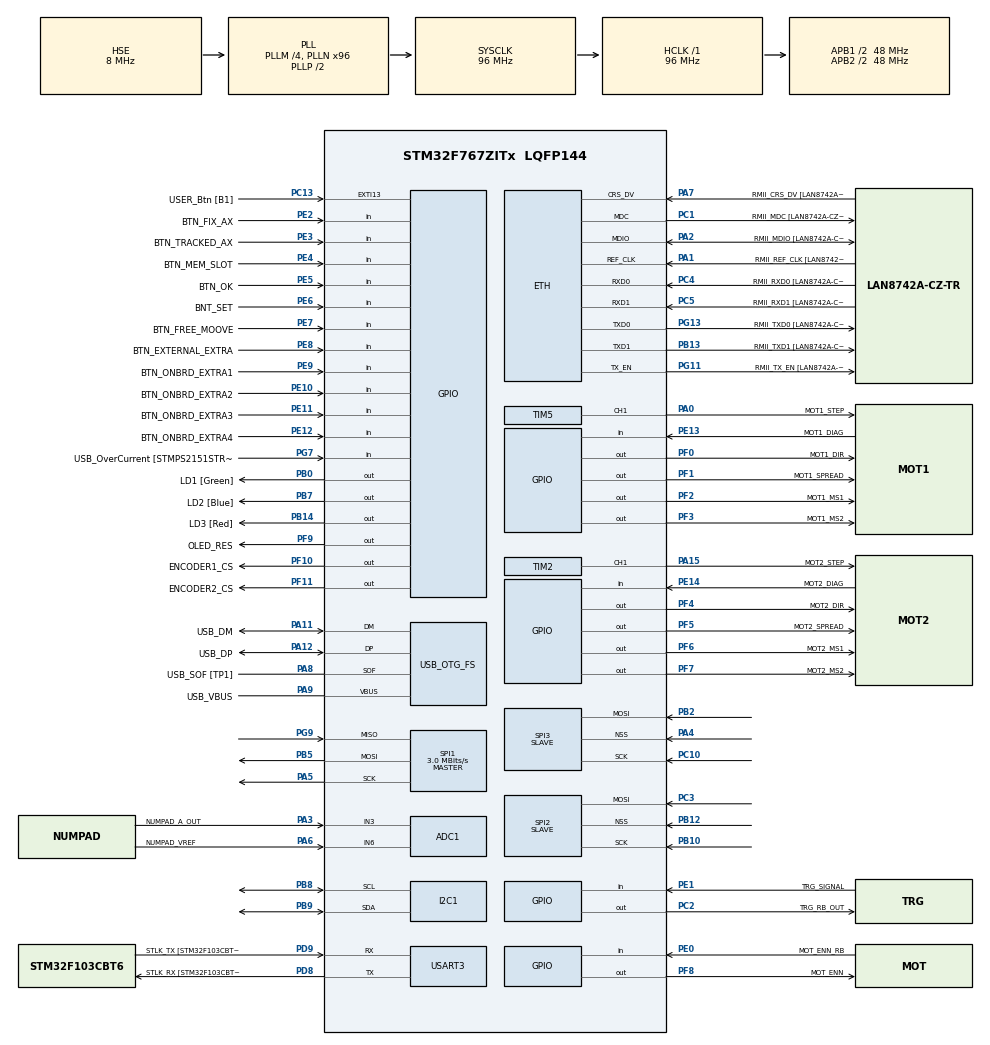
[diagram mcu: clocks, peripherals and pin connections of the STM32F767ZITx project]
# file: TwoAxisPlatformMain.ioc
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ADC1.Channel-1\#ChannelRegularConversion=ADC_CHANNEL_3
ADC1.ContinuousConvMode=ENABLE
ADC1.NbrOfConversionFlag=1
ADC1.Rank-1\#ChannelRegularConversion=1
ADC1.SamplingTime-1\#ChannelRegularConversion=ADC_SAMPLETIME_3CYCLES
ADC1.master=1
Dma.Request0=TIM2_UP/CH3
Dma.Request1=SPI2_RX
Dma.Request2=SPI3_RX
Dma.Request3=TIM5_UP
Dma.SPI2_RX.1.Direction=DMA_PERIPH_TO_MEMORY
Dma.SPI2_RX.1.FIFOMode=DMA_FIFOMODE_DISABLE
Dma.SPI2_RX.1.Instance=DMA1_Stream3
Dma.SPI2_RX.1.MemDataAlignment=DMA_MDATAALIGN_BYTE
Dma.SPI2_RX.1.MemInc=DMA_MINC_ENABLE
Dma.SPI2_RX.1.Mode=DMA_NORMAL
Dma.SPI2_RX.1.PeriphDataAlignment=DMA_PDATAALIGN_BYTE
Dma.SPI2_RX.1.PeriphInc=DMA_PINC_DISABLE
Dma.SPI2_RX.1.Priority=DMA_PRIORITY_MEDIUM
Dma.SPI3_RX.2.Direction=DMA_PERIPH_TO_MEMORY
Dma.SPI3_RX.2.FIFOMode=DMA_FIFOMODE_DISABLE
Dma.SPI3_RX.2.Instance=DMA1_Stream0
Dma.SPI3_RX.2.MemDataAlignment=DMA_MDATAALIGN_BYTE
Dma.SPI3_RX.2.MemInc=DMA_MINC_ENABLE
Dma.SPI3_RX.2.Mode=DMA_NORMAL
Dma.SPI3_RX.2.PeriphDataAlignment=DMA_PDATAALIGN_BYTE
Dma.SPI3_RX.2.PeriphInc=DMA_PINC_DISABLE
Dma.SPI3_RX.2.Priority=DMA_PRIORITY_MEDIUM
Dma.TIM2_UP/CH3.0.Direction=DMA_MEMORY_TO_PERIPH
Dma.TIM2_UP/CH3.0.FIFOMode=DMA_FIFOMODE_DISABLE
Dma.TIM2_UP/CH3.0.Instance=DMA1_Stream1
Dma.TIM2_UP/CH3.0.MemDataAlignment=DMA_MDATAALIGN_WORD
Dma.TIM2_UP/CH3.0.MemInc=DMA_MINC_ENABLE
Dma.TIM2_UP/CH3.0.Mode=DMA_NORMAL
Dma.TIM2_UP/CH3.0.PeriphDataAlignment=DMA_PDATAALIGN_WORD
Dma.TIM2_UP/CH3.0.PeriphInc=DMA_PINC_DISABLE
Dma.TIM2_UP/CH3.0.Priority=DMA_PRIORITY_HIGH
Dma.TIM5_UP.3.Direction=DMA_MEMORY_TO_PERIPH
Dma.TIM5_UP.3.FIFOMode=DMA_FIFOMODE_DISABLE
Dma.TIM5_UP.3.Instance=DMA1_Stream6
Dma.TIM5_UP.3.MemDataAlignment=DMA_MDATAALIGN_WORD
Dma.TIM5_UP.3.MemInc=DMA_MINC_ENABLE
Dma.TIM5_UP.3.Mode=DMA_NORMAL
Dma.TIM5_UP.3.PeriphDataAlignment=DMA_PDATAALIGN_WORD
Dma.TIM5_UP.3.PeriphInc=DMA_PINC_DISABLE
Dma.TIM5_UP.3.Priority=DMA_PRIORITY_HIGH
ETH.MediaInterface=HAL_ETH_RMII_MODE
I2C1.Timing=0x20303E5D
Mcu.Family=STM32F7
Mcu.Name=STM32F767ZITx
Mcu.Package=LQFP144
NVIC.DMA1_Stream0_IRQn=true\:0\:0\:false\:false\:true\:false\:true\:true
NVIC.DMA1_Stream1_IRQn=true\:0\:0\:false\:false\:true\:false\:true\:true
NVIC.DMA1_Stream3_IRQn=true\:0\:0\:false\:false\:true\:false\:true\:true
NVIC.DMA1_Stream6_IRQn=true\:0\:0\:false\:false\:true\:false\:true\:true
NVIC.PriorityGroup=NVIC_PRIORITYGROUP_4
NVIC.TIM2_IRQn=true\:0\:0\:false\:false\:true\:true\:true\:true
NVIC.TIM5_IRQn=true\:0\:0\:false\:false\:true\:true\:true\:true
NVIC.TIM6_DAC_IRQn=true\:0\:0\:false\:false\:true\:true\:true\:true
PA0/WKUP.GPIO_Label=MOT1_STEP
PA0/WKUP.GPIO_Speed=GPIO_SPEED_FREQ_HIGH
PA0/WKUP.Signal=S_TIM5_CH1
PA1.GPIO_Label=RMII_REF_CLK [LAN8742A-CZ-TR_REFCLK0]
PA1.Mode=RMII
PA1.Signal=ETH_REF_CLK
PA10.GPIO_Label=USB_ID
PA10.Signal=USB_OTG_FS_ID
PA11.GPIO_Label=USB_DM
PA11.Mode=Device_Only
PA11.Signal=USB_OTG_FS_DM
PA12.GPIO_Label=USB_DP
PA12.Mode=Device_Only
PA12.Signal=USB_OTG_FS_DP
PA13.GPIO_Label=TMS
PA13.Mode=Serial_Wire
PA13.Signal=SYS_JTMS-SWDIO
PA14.GPIO_Label=TCK
PA14.Mode=Serial_Wire
PA14.Signal=SYS_JTCK-SWCLK
PA15.GPIO_Label=MOT2_STEP
PA15.GPIO_Speed=GPIO_SPEED_FREQ_HIGH
PA15.Signal=S_TIM2_CH1_ETR
PA2.GPIO_Label=RMII_MDIO [LAN8742A-CZ-TR_MDIO]
PA2.Mode=RMII
PA2.Signal=ETH_MDIO
PA3.GPIO_Label=NUMPAD_A_OUT
PA3.Signal=ADCx_IN3
PA4.Mode=NSS_Signal_Hard_Input
PA4.Signal=SPI3_NSS
PA5.Mode=Full_Duplex_Master
PA5.Signal=SPI1_SCK
PA6.GPIO_Label=NUMPAD_VREF
PA6.Signal=ADCx_IN6
PA7.GPIO_Label=RMII_CRS_DV [LAN8742A-CZ-TR_CRS_DV]
PA7.Mode=RMII
PA7.Signal=ETH_CRS_DV
PA8.GPIO_Label=USB_SOF [TP1]
PA8.Mode=Activate_SOF_FS
PA8.Signal=USB_OTG_FS_SOF
PA9.GPIO_Label=USB_VBUS
PA9.Mode=Activate_VBUS
PA9.Signal=USB_OTG_FS_VBUS
PB0.GPIO_Label=LD1 [Green]
PB0.Signal=GPIO_Output
PB10.Mode=RX_Only_Simplex_Unidirect_Slave
PB10.Signal=SPI2_SCK
PB12.Mode=NSS_Signal_Hard_Input
PB12.Signal=SPI2_NSS
PB13.GPIO_Label=RMII_TXD1 [LAN8742A-CZ-TR_TXD1]
PB13.Mode=RMII
PB13.Signal=ETH_TXD1
PB14.GPIO_Label=LD3 [Red]
PB14.Signal=GPIO_Output
PB2.Mode=RX_Only_Simplex_Unidirect_Slave
PB2.Signal=SPI3_MOSI
PB3.GPIO_Label=SWO
PB3.Signal=SYS_JTDO-SWO
PB5.Mode=Full_Duplex_Master
PB5.Signal=SPI1_MOSI
PB7.GPIO_Label=LD2 [Blue]
PB7.Signal=GPIO_Output
PB8.Mode=I2C
PB8.Signal=I2C1_SCL
PB9.Mode=I2C
PB9.Signal=I2C1_SDA
PC1.GPIO_Label=RMII_MDC [LAN8742A-CZ-TR_MDC]
PC1.Mode=RMII
PC1.Signal=ETH_MDC
PC10.Mode=RX_Only_Simplex_Unidirect_Slave
PC10.Signal=SPI3_SCK
PC13.GPIO_Label=USER_Btn [B1]
PC13.Signal=GPXTI13
PC14/OSC32_IN.Mode=LSE-External-Oscillator
PC14/OSC32_IN.Signal=RCC_OSC32_IN
PC15/OSC32_OUT.Mode=LSE-External-Oscillator
PC15/OSC32_OUT.Signal=RCC_OSC32_OUT
PC2.GPIO_Label=TRG_RB_OUT
PC2.Signal=GPIO_Output
PC3.Mode=RX_Only_Simplex_Unidirect_Slave
PC3.Signal=SPI2_MOSI
PC4.GPIO_Label=RMII_RXD0 [LAN8742A-CZ-TR_RXD0]
PC4.Mode=RMII
PC4.Signal=ETH_RXD0
PC5.GPIO_Label=RMII_RXD1 [LAN8742A-CZ-TR_RXD1]
PC5.Mode=RMII
PC5.Signal=ETH_RXD1
PD8.GPIO_Label=STLK_RX [STM32F103CBT6_PA3]
PD8.Mode=Asynchronous
PD8.Signal=USART3_TX
PD9.GPIO_Label=STLK_TX [STM32F103CBT6_PA2]
PD9.Mode=Asynchronous
PD9.Signal=USART3_RX
PE0.GPIO_Label=MOT_ENN_RB
PE0.Signal=GPIO_Input
PE1.GPIO_Label=TRG_SIGNAL
PE1.Signal=GPIO_Input
PE10.GPIO_Label=BTN_ONBRD_EXTRA2
PE10.Signal=GPIO_Input
PE11.GPIO_Label=BTN_ONBRD_EXTRA3
PE11.Signal=GPIO_Input
PE12.GPIO_Label=BTN_ONBRD_EXTRA4
PE12.Signal=GPIO_Input
PE13.GPIO_Label=MOT1_DIAG
PE13.Signal=GPIO_Input
PE14.GPIO_Label=MOT2_DIAG
PE14.Signal=GPIO_Input
PE2.GPIO_Label=BTN_FIX_AX
PE2.Signal=GPIO_Input
PE3.GPIO_Label=BTN_TRACKED_AX
PE3.Signal=GPIO_Input
PE4.GPIO_Label=BTN_MEM_SLOT
PE4.Signal=GPIO_Input
PE5.GPIO_Label=BTN_OK
PE5.Signal=GPIO_Input
PE6.GPIO_Label=BNT_SET
PE6.Signal=GPIO_Input
PE7.GPIO_Label=BTN_FREE_MOOVE
PE7.Signal=GPIO_Input
PE8.GPIO_Label=BTN_EXTERNAL_EXTRA
PE8.Signal=GPIO_Input
PE9.GPIO_Label=BTN_ONBRD_EXTRA1
PE9.Signal=GPIO_Input
PF0.GPIO_Label=MOT1_DIR
PF0.Signal=GPIO_Output
PF1.GPIO_Label=MOT1_SPREAD
PF1.Signal=GPIO_Output
PF10.GPIO_Label=ENCODER1_CS
PF10.GPIO_Speed=GPIO_SPEED_FREQ_MEDIUM
PF10.PinState=GPIO_PIN_RESET
PF10.Signal=GPIO_Output
PF11.GPIO_Label=ENCODER2_CS
PF11.GPIO_Speed=GPIO_SPEED_FREQ_MEDIUM
PF11.Signal=GPIO_Output
PF2.GPIO_Label=MOT1_MS1
PF2.Signal=GPIO_Output
PF3.GPIO_Label=MOT1_MS2
PF3.Signal=GPIO_Output
PF4.GPIO_Label=MOT2_DIR
PF4.Signal=GPIO_Output
PF5.GPIO_Label=MOT2_SPREAD
PF5.Signal=GPIO_Output
PF6.GPIO_Label=MOT2_MS1
PF6.Signal=GPIO_Output
PF7.GPIO_Label=MOT2_MS2
PF7.Signal=GPIO_Output
PF8.GPIO_Label=MOT_ENN
PF8.Signal=GPIO_Output
PF9.GPIO_Label=OLED_RES
PF9.Signal=GPIO_Output
PG11.GPIO_Label=RMII_TX_EN [LAN8742A-CZ-TR_TXEN]
PG11.Mode=RMII
PG11.Signal=ETH_TX_EN
PG13.GPIO_Label=RMII_TXD0 [LAN8742A-CZ-TR_TXD0]
PG13.Mode=RMII
PG13.Signal=ETH_TXD0
PG7.GPIO_Label=USB_OverCurrent [STMPS2151STR_FAULT]
PG7.Signal=GPIO_Input
PG9.Mode=Full_Duplex_Master
PG9.Signal=SPI1_MISO
PH0/OSC_IN.GPIO_Label=MCO [STM32F103CBT6_PA8]
PH0/OSC_IN.Mode=HSE-External-Clock-Source
PH0/OSC_IN.Signal=RCC_OSC_IN
PH1/OSC_OUT.Mode=HSE-External-Clock-Source
PH1/OSC_OUT.Signal=RCC_OSC_OUT
ProjectManager.HeapSize=0x200
ProjectManager.StackSize=0x400
ProjectManager.TargetToolchain=STM32CubeIDE
RCC.48MHZClocksFreq_Value=24000000
RCC.AHBFreq_Value=96000000
RCC.APB1CLKDivider=RCC_HCLK_DIV2
RCC.APB1Freq_Value=48000000
RCC.APB1TimFreq_Value=96000000
RCC.APB2CLKDivider=RCC_HCLK_DIV2
RCC.APB2Freq_Value=48000000
RCC.APB2TimFreq_Value=96000000
RCC.CortexFreq_Value=96000000
RCC.HCLKFreq_Value=96000000
RCC.HSE_VALUE=8000000
RCC.HSI_VALUE=16000000
RCC.PLLM=4
RCC.PLLMUL=RCC_PLL_MUL9
RCC.PLLN=96
RCC.PLLQ=4
RCC.PRESCALERUSB=RCC_USBCLKSOURCE_PLL_DIV1_5
RCC.SYSCLKFreq_VALUE=96000000
RCC.SYSCLKSource=RCC_SYSCLKSOURCE_PLLCLK
RCC.SYSCLKSourceVirtual=RCC_SYSCLKSOURCE_PLLCLK
RCC.USBFreq_Value=48000000
RCC.VCOOutputFreq_Value=192000000
SH.ADCx_IN3.0=ADC1_IN3,IN3
SH.ADCx_IN6.0=ADC1_IN6,IN6
SH.S_TIM2_CH1_ETR.0=TIM2_CH1,PWM Generation1 CH1
SH.S_TIM5_CH1.0=TIM5_CH1,PWM Generation1 CH1
SPI1.BaudRatePrescaler=SPI_BAUDRATEPRESCALER_16
SPI1.CLKPhase=SPI_PHASE_2EDGE
SPI1.CalculateBaudRate=3.0 MBits/s
SPI1.DataSize=SPI_DATASIZE_8BIT
SPI1.Direction=SPI_DIRECTION_2LINES
SPI1.Mode=SPI_MODE_MASTER
SPI1.VirtualType=VM_MASTER
SPI2.Direction=SPI_DIRECTION_2LINES_RXONLY
SPI2.Mode=SPI_MODE_SLAVE
SPI2.VirtualNSS=VM_NSSHARD
SPI2.VirtualType=VM_SLAVE
SPI3.Direction=SPI_DIRECTION_2LINES_RXONLY
SPI3.Mode=SPI_MODE_SLAVE
SPI3.VirtualNSS=VM_NSSHARD
SPI3.VirtualType=VM_SLAVE
TIM2.Channel-PWM\ Generation1\ CH1=TIM_CHANNEL_1
TIM2.Period=41999999
TIM2.Pulse-PWM\ Generation1\ CH1=32
TIM5.Channel-PWM\ Generation1\ CH1=TIM_CHANNEL_1
TIM5.Period=41999999
TIM5.Pulse-PWM\ Generation1\ CH1=32
TIM6.Period=10000
TIM6.Prescaler=96
USART3.VirtualMode-Asynchronous=VM_ASYNC
USB_OTG_FS.VirtualMode=Device_Only
VP_TIM2_VS_ClockSourceINT.Mode=Internal
VP_TIM5_VS_ClockSourceINT.Mode=Internal
VP_TIM6_VS_ClockSourceINT.Mode=Enable_Timer
board=NUCLEO-F767ZI

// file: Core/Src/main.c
/* USER CODE BEGIN Header */
/**
  ******************************************************************************
  * @file           : main.c
  * @brief          : Main program body
  ******************************************************************************
  * @attention
  *
  * Copyright (c) 2025 STMicroelectronics.
  * All rights reserved.
  *
  * This software is licensed under terms that can be found in the LICENSE file
  * in the root directory of this software component.
  * If no LICENSE file comes with this software, it is provided AS-IS.
  *
  ******************************************************************************
  */
/* USER CODE END Header */
#include "main.h"
#include "string.h"

/* USER CODE BEGIN Includes */
#include <cstdio>
#include "StepperController.hpp"
#include "numpad.hpp"
#include "SSD1305.hpp"
#include "AS5147U.hpp"
#include "state_machine.hpp"

#include "../Modules/ICM20948/ICM20948.hpp"
/* USER CODE END Includes */

/* USER CODE BEGIN PD */
#define EEPROMAddress 0x50

/* USER CODE END PD */

#if defined ( __ICCARM__ ) /*!< IAR Compiler */
#pragma location=0x2007c000
ETH_DMADescTypeDef  DMARxDscrTab[ETH_RX_DESC_CNT]; /* Ethernet Rx DMA Descriptors */
#pragma location=0x2007c0a0
ETH_DMADescTypeDef  DMATxDscrTab[ETH_TX_DESC_CNT]; /* Ethernet Tx DMA Descriptors */

#elif defined ( __CC_ARM )  /* MDK ARM Compiler */

__attribute__((at(0x2007c000))) ETH_DMADescTypeDef  DMARxDscrTab[ETH_RX_DESC_CNT]; /* Ethernet Rx DMA Descriptors */
__attribute__((at(0x2007c0a0))) ETH_DMADescTypeDef  DMATxDscrTab[ETH_TX_DESC_CNT]; /* Ethernet Tx DMA Descriptors */

#elif defined ( __GNUC__ ) /* GNU Compiler */
ETH_DMADescTypeDef DMARxDscrTab[ETH_RX_DESC_CNT] __attribute__((section(".RxDecripSection"))); /* Ethernet Rx DMA Descriptors */
ETH_DMADescTypeDef DMATxDscrTab[ETH_TX_DESC_CNT] __attribute__((section(".TxDecripSection")));   /* Ethernet Tx DMA Descriptors */

#endif

ETH_TxPacketConfig TxConfig;

ADC_HandleTypeDef hadc1;

ETH_HandleTypeDef heth;

I2C_HandleTypeDef hi2c1;

SPI_HandleTypeDef hspi1;
SPI_HandleTypeDef hspi2;
SPI_HandleTypeDef hspi3;
DMA_HandleTypeDef hdma_spi2_rx;
DMA_HandleTypeDef hdma_spi3_rx;

TIM_HandleTypeDef htim2;
TIM_HandleTypeDef htim5;
TIM_HandleTypeDef htim6;
DMA_HandleTypeDef hdma_tim2_up_ch3;
DMA_HandleTypeDef hdma_tim5_up;

UART_HandleTypeDef huart3;

PCD_HandleTypeDef hpcd_USB_OTG_FS;

/* USER CODE BEGIN PV */
GPIO DIR_GPIO_MOT1(DIR_MOT1_GPIO_Port, DIR_MOT1_Pin);
GPIO ENN_GPIO_MOT1(ENN_MOT1_GPIO_Port, ENN_MOT1_Pin);

GPIO DIR_GPIO_MOT2(DIR_MOT2_GPIO_Port, DIR_MOT2_Pin);
GPIO ENN_GPIO_MOT2(ENN_MOT2_GPIO_Port, ENN_MOT2_Pin);

/* USER CODE END PV */

void SystemClock_Config(void);
static void MX_GPIO_Init(void);
static void MX_DMA_Init(void);
static void MX_USART3_UART_Init(void);
static void MX_USB_OTG_FS_PCD_Init(void);
static void MX_I2C1_Init(void);
static void MX_SPI1_Init(void);
static void MX_SPI2_Init(void);
static void MX_SPI3_Init(void);
static void MX_ETH_Init(void);
static void MX_TIM2_Init(void);
static void MX_TIM5_Init(void);
static void MX_ADC1_Init(void);
static void MX_TIM6_Init(void);
/* USER CODE BEGIN PFP */
void available_devices(int* devices)
{
	HAL_StatusTypeDef status;

	int j = 0;
	for(int i = 0; i<128; i++)
	{
		status = HAL_I2C_IsDeviceReady(&hi2c1, i<<1, 2, 100);
		devices[i] = 0;
		if(status == HAL_OK)
			{
				devices[j] = i;
				j++;
			}
	}
}
/* USER CODE END PFP */

int main(void)
{

  /* MCU Configuration--------------------------------------------------------*/

  /* Reset of all peripherals, Initializes the Flash interface and the Systick. */
  HAL_Init();

  /* Configure the system clock */
  SystemClock_Config();

  /* Initialize all configured peripherals */
  MX_GPIO_Init();
  MX_DMA_Init();
  MX_USART3_UART_Init();
  MX_USB_OTG_FS_PCD_Init();
  MX_I2C1_Init();
  MX_SPI1_Init();
  MX_SPI2_Init();
  MX_SPI3_Init();
  MX_ETH_Init();
  MX_TIM2_Init();
  MX_TIM5_Init();
  MX_ADC1_Init();
  MX_TIM6_Init();
  /* USER CODE BEGIN 2 */

  //ENN_GPIO_MOT1.digitalWrite(GPIO_PIN_RESET);
  //ENN_GPIO_MOT2.digitalWrite(GPIO_PIN_RESET);

  StepperController motor1_controller(
		  &htim2,
		  &hdma_tim2_up_ch3,
		  &DIR_GPIO_MOT1,
		  1.8d,
		  0.125d);

  StepperController motor2_controller(
		  &htim5,
		  &hdma_tim5_up,
		  &DIR_GPIO_MOT2,
		  1.8d,
		  0.125d);

  char MSG[30];
  numpadEnable();

  HAL_GPIO_WritePin(OLED_RES_NOT_GPIO_Port, OLED_RES_NOT_Pin, GPIO_PIN_SET);

  SSD1305 display(&hi2c1, 0x3C, 128, 32);
  display.Init();

  ICM2098 imu(&hi2c1, ICM2098_ADDR_AD0_HIGH);

  if (imu.init(true))
  {
	  display.SetCursor(0, 0);
	  display.WriteString("IMU INIT OK", Font_7x10, White);
	  display.WriteBitmapToScreen();
  }
  else
  {
	  display.SetCursor(0, 0);
	  display.WriteString("IMU INIT NOK", Font_7x10, White);
	  display.WriteBitmapToScreen();
	  while(1)
	  {
		  __NOP();
	  }
  }
  imu.setAccRange(FS_plus_minus_2G);

  AS5147U encoder(&hspi1, ENCODER1_CS_GPIO_Port, ENCODER1_CS_Pin);

  if( encoder.init() )
  {
	  display.Fill(Black);
	  display.SetCursor(0, 0);
	  display.WriteString("ENCODER INIT OK", Font_7x10, White);
	  display.WriteBitmapToScreen();
  }
  else
  {
	  display.Fill(Black);
	  display.SetCursor(0, 0);
	  display.WriteString("ENCODER INIT NOK", Font_7x10, White);
	  display.WriteBitmapToScreen();
	  while(1)
	  {
		  __NOP();
	  }
  }

  //Memory init
  int devices[128];

  available_devices(devices);

  memoryElement elementList[9] =
  {
      {"MS1_fixAx", i8},
      {"MS1_trackAx", i8},
      {"MS1_setDeg", i16},

	  {"MS2_fixAx", i8},
      {"MS2_trackAx", i8},
      {"MS2_setDeg", i16},

	  {"MS3_fixAx", i8},
      {"MS3_trackAx", i8},
      {"MS3_setDeg", i16},
  };

  //deleteRegion(&hi2c1, EEPROMAddress, 0, 128);
  EEPROMmemory EEPROM(elementList, 9, EEPROMAddress, &hi2c1);

  uint8_t testVal = 99;
  //EEPROM.getValue("MS1_fixAx", &testVal);

  HAL_StatusTypeDef stat;
  uint16_t start = 0;
  stat = HAL_I2C_IsDeviceReady(&hi2c1, EEPROMAddress<<1, 2, 100);
  stat = HAL_I2C_Mem_Read(&hi2c1, EEPROMAddress<<1, start, I2C_MEMADD_SIZE_16BIT, &testVal, sizeof(testVal), 1000);

  State_Settings state_Settings;
  State_SelectMemory state_SelectMemory;
  State_Moving state_Moving;
  State_FreeMove state_FreeMove;
  State_Remote state_Remote;

  getMemorySlotFromEEPROM(&state_Settings.currentMemorySlot, 1, &EEPROM);
  StateMachine machine(&state_SelectMemory, //<- starting state
		  	  	  	  &state_Settings, &state_SelectMemory, &state_Moving, &state_FreeMove, state_FreeMove, &state_Remote, //<- states
		  	  	  	  &display, &imu, &EEPROM); //<- resources

  /* USER CODE END 2 */

  /* Infinite loop */
  /* USER CODE BEGIN WHILE */
  while (1)
  {
	machine.run();

	//HAL_Delay(200);
    /* USER CODE END WHILE */

  }
}

void SystemClock_Config(void)
{
  RCC_OscInitTypeDef RCC_OscInitStruct = {0};
  RCC_ClkInitTypeDef RCC_ClkInitStruct = {0};

  /** Configure LSE Drive Capability
  */
  HAL_PWR_EnableBkUpAccess();

  /** Configure the main internal regulator output voltage
  */
  __HAL_RCC_PWR_CLK_ENABLE();
  __HAL_PWR_VOLTAGESCALING_CONFIG(PWR_REGULATOR_VOLTAGE_SCALE3);

  /** Initializes the RCC Oscillators according to the specified parameters
  * in the RCC_OscInitTypeDef structure.
  */
  RCC_OscInitStruct.OscillatorType = RCC_OSCILLATORTYPE_HSE;
  RCC_OscInitStruct.HSEState = RCC_HSE_BYPASS;
  RCC_OscInitStruct.PLL.PLLState = RCC_PLL_ON;
  RCC_OscInitStruct.PLL.PLLSource = RCC_PLLSOURCE_HSE;
  RCC_OscInitStruct.PLL.PLLM = 4;
  RCC_OscInitStruct.PLL.PLLN = 96;
  RCC_OscInitStruct.PLL.PLLP = RCC_PLLP_DIV2;
  RCC_OscInitStruct.PLL.PLLQ = 4;
  RCC_OscInitStruct.PLL.PLLR = 2;
  if (HAL_RCC_OscConfig(&RCC_OscInitStruct) != HAL_OK)
  {
    Error_Handler();
  }

  /** Activate the Over-Drive mode
  */
  if (HAL_PWREx_EnableOverDrive() != HAL_OK)
  {
    Error_Handler();
  }

  /** Initializes the CPU, AHB and APB buses clocks
  */
  RCC_ClkInitStruct.ClockType = RCC_CLOCKTYPE_HCLK|RCC_CLOCKTYPE_SYSCLK
                              |RCC_CLOCKTYPE_PCLK1|RCC_CLOCKTYPE_PCLK2;
  RCC_ClkInitStruct.SYSCLKSource = RCC_SYSCLKSOURCE_PLLCLK;
  RCC_ClkInitStruct.AHBCLKDivider = RCC_SYSCLK_DIV1;
  RCC_ClkInitStruct.APB1CLKDivider = RCC_HCLK_DIV2;
  RCC_ClkInitStruct.APB2CLKDivider = RCC_HCLK_DIV2;

  if (HAL_RCC_ClockConfig(&RCC_ClkInitStruct, FLASH_LATENCY_3) != HAL_OK)
  {
    Error_Handler();
  }
}

static void MX_ADC1_Init(void)
{

  ADC_ChannelConfTypeDef sConfig = {0};

  /** Configure the global features of the ADC (Clock, Resolution, Data Alignment and number of conversion)
  */
  hadc1.Instance = ADC1;
  hadc1.Init.ClockPrescaler = ADC_CLOCK_SYNC_PCLK_DIV2;
  hadc1.Init.Resolution = ADC_RESOLUTION_12B;
  hadc1.Init.ScanConvMode = ADC_SCAN_DISABLE;
  hadc1.Init.ContinuousConvMode = ENABLE;
  hadc1.Init.DiscontinuousConvMode = DISABLE;
  hadc1.Init.ExternalTrigConvEdge = ADC_EXTERNALTRIGCONVEDGE_NONE;
  hadc1.Init.ExternalTrigConv = ADC_SOFTWARE_START;
  hadc1.Init.DataAlign = ADC_DATAALIGN_RIGHT;
  hadc1.Init.NbrOfConversion = 1;
  hadc1.Init.DMAContinuousRequests = DISABLE;
  hadc1.Init.EOCSelection = ADC_EOC_SINGLE_CONV;
  if (HAL_ADC_Init(&hadc1) != HAL_OK)
  {
    Error_Handler();
  }

  /** Configure for the selected ADC regular channel its corresponding rank in the sequencer and its sample time.
  */
  sConfig.Channel = ADC_CHANNEL_3;
  sConfig.Rank = ADC_REGULAR_RANK_1;
  sConfig.SamplingTime = ADC_SAMPLETIME_3CYCLES;
  if (HAL_ADC_ConfigChannel(&hadc1, &sConfig) != HAL_OK)
  {
    Error_Handler();
  }

}

static void MX_ETH_Init(void)
{

   static uint8_t MACAddr[6];

  heth.Instance = ETH;
  MACAddr[0] = 0x00;
  MACAddr[1] = 0x80;
  MACAddr[2] = 0xE1;
  MACAddr[3] = 0x00;
  MACAddr[4] = 0x00;
  MACAddr[5] = 0x00;
  heth.Init.MACAddr = &MACAddr[0];
  heth.Init.MediaInterface = HAL_ETH_RMII_MODE;
  heth.Init.TxDesc = DMATxDscrTab;
  heth.Init.RxDesc = DMARxDscrTab;
  heth.Init.RxBuffLen = 1524;

  if (HAL_ETH_Init(&heth) != HAL_OK)
  {
    Error_Handler();
  }

  memset(&TxConfig, 0 , sizeof(ETH_TxPacketConfig));
  TxConfig.Attributes = ETH_TX_PACKETS_FEATURES_CSUM | ETH_TX_PACKETS_FEATURES_CRCPAD;
  TxConfig.ChecksumCtrl = ETH_CHECKSUM_IPHDR_PAYLOAD_INSERT_PHDR_CALC;
  TxConfig.CRCPadCtrl = ETH_CRC_PAD_INSERT;

}

static void MX_I2C1_Init(void)
{

  hi2c1.Instance = I2C1;
  hi2c1.Init.Timing = 0x20303E5D;
  hi2c1.Init.OwnAddress1 = 0;
  hi2c1.Init.AddressingMode = I2C_ADDRESSINGMODE_7BIT;
  hi2c1.Init.DualAddressMode = I2C_DUALADDRESS_DISABLE;
  hi2c1.Init.OwnAddress2 = 0;
  hi2c1.Init.OwnAddress2Masks = I2C_OA2_NOMASK;
  hi2c1.Init.GeneralCallMode = I2C_GENERALCALL_DISABLE;
  hi2c1.Init.NoStretchMode = I2C_NOSTRETCH_DISABLE;
  if (HAL_I2C_Init(&hi2c1) != HAL_OK)
  {
    Error_Handler();
  }

  /** Configure Analogue filter
  */
  if (HAL_I2CEx_ConfigAnalogFilter(&hi2c1, I2C_ANALOGFILTER_ENABLE) != HAL_OK)
  {
    Error_Handler();
  }

  /** Configure Digital filter
  */
  if (HAL_I2CEx_ConfigDigitalFilter(&hi2c1, 0) != HAL_OK)
  {
    Error_Handler();
  }

}

static void MX_SPI1_Init(void)
{

  /* SPI1 parameter configuration*/
  hspi1.Instance = SPI1;
  hspi1.Init.Mode = SPI_MODE_MASTER;
  hspi1.Init.Direction = SPI_DIRECTION_2LINES;
  hspi1.Init.DataSize = SPI_DATASIZE_8BIT;
  hspi1.Init.CLKPolarity = SPI_POLARITY_LOW;
  hspi1.Init.CLKPhase = SPI_PHASE_2EDGE;
  hspi1.Init.NSS = SPI_NSS_SOFT;
  hspi1.Init.BaudRatePrescaler = SPI_BAUDRATEPRESCALER_16;
  hspi1.Init.FirstBit = SPI_FIRSTBIT_MSB;
  hspi1.Init.TIMode = SPI_TIMODE_DISABLE;
  hspi1.Init.CRCCalculation = SPI_CRCCALCULATION_DISABLE;
  hspi1.Init.CRCPolynomial = 7;
  hspi1.Init.CRCLength = SPI_CRC_LENGTH_DATASIZE;
  hspi1.Init.NSSPMode = SPI_NSS_PULSE_DISABLE;
  if (HAL_SPI_Init(&hspi1) != HAL_OK)
  {
    Error_Handler();
  }

}

static void MX_SPI2_Init(void)
{

  /* SPI2 parameter configuration*/
  hspi2.Instance = SPI2;
  hspi2.Init.Mode = SPI_MODE_SLAVE;
  hspi2.Init.Direction = SPI_DIRECTION_2LINES_RXONLY;
  hspi2.Init.DataSize = SPI_DATASIZE_4BIT;
  hspi2.Init.CLKPolarity = SPI_POLARITY_LOW;
  hspi2.Init.CLKPhase = SPI_PHASE_1EDGE;
  hspi2.Init.NSS = SPI_NSS_HARD_INPUT;
  hspi2.Init.FirstBit = SPI_FIRSTBIT_MSB;
  hspi2.Init.TIMode = SPI_TIMODE_DISABLE;
  hspi2.Init.CRCCalculation = SPI_CRCCALCULATION_DISABLE;
  hspi2.Init.CRCPolynomial = 7;
  hspi2.Init.CRCLength = SPI_CRC_LENGTH_DATASIZE;
  hspi2.Init.NSSPMode = SPI_NSS_PULSE_DISABLE;
  if (HAL_SPI_Init(&hspi2) != HAL_OK)
  {
    Error_Handler();
  }

}

static void MX_SPI3_Init(void)
{

  /* SPI3 parameter configuration*/
  hspi3.Instance = SPI3;
  hspi3.Init.Mode = SPI_MODE_SLAVE;
  hspi3.Init.Direction = SPI_DIRECTION_2LINES_RXONLY;
  hspi3.Init.DataSize = SPI_DATASIZE_4BIT;
  hspi3.Init.CLKPolarity = SPI_POLARITY_LOW;
  hspi3.Init.CLKPhase = SPI_PHASE_1EDGE;
  hspi3.Init.NSS = SPI_NSS_HARD_INPUT;
  hspi3.Init.FirstBit = SPI_FIRSTBIT_MSB;
  hspi3.Init.TIMode = SPI_TIMODE_DISABLE;
  hspi3.Init.CRCCalculation = SPI_CRCCALCULATION_DISABLE;
  hspi3.Init.CRCPolynomial = 7;
  hspi3.Init.CRCLength = SPI_CRC_LENGTH_DATASIZE;
  hspi3.Init.NSSPMode = SPI_NSS_PULSE_DISABLE;
  if (HAL_SPI_Init(&hspi3) != HAL_OK)
  {
    Error_Handler();
  }

}

static void MX_TIM2_Init(void)
{

  TIM_ClockConfigTypeDef sClockSourceConfig = {0};
  TIM_MasterConfigTypeDef sMasterConfig = {0};
  TIM_OC_InitTypeDef sConfigOC = {0};

  htim2.Instance = TIM2;
  htim2.Init.Prescaler = 0;
  htim2.Init.CounterMode = TIM_COUNTERMODE_UP;
  htim2.Init.Period = 41999999;
  htim2.Init.ClockDivision = TIM_CLOCKDIVISION_DIV1;
  htim2.Init.AutoReloadPreload = TIM_AUTORELOAD_PRELOAD_DISABLE;
  if (HAL_TIM_Base_Init(&htim2) != HAL_OK)
  {
    Error_Handler();
  }
  sClockSourceConfig.ClockSource = TIM_CLOCKSOURCE_INTERNAL;
  if (HAL_TIM_ConfigClockSource(&htim2, &sClockSourceConfig) != HAL_OK)
  {
    Error_Handler();
  }
  if (HAL_TIM_PWM_Init(&htim2) != HAL_OK)
  {
    Error_Handler();
  }
  sMasterConfig.MasterOutputTrigger = TIM_TRGO_RESET;
  sMasterConfig.MasterSlaveMode = TIM_MASTERSLAVEMODE_DISABLE;
  if (HAL_TIMEx_MasterConfigSynchronization(&htim2, &sMasterConfig) != HAL_OK)
  {
    Error_Handler();
  }
  sConfigOC.OCMode = TIM_OCMODE_PWM1;
  sConfigOC.Pulse = 32;
  sConfigOC.OCPolarity = TIM_OCPOLARITY_HIGH;
  sConfigOC.OCFastMode = TIM_OCFAST_DISABLE;
  if (HAL_TIM_PWM_ConfigChannel(&htim2, &sConfigOC, TIM_CHANNEL_1) != HAL_OK)
  {
    Error_Handler();
  }
  HAL_TIM_MspPostInit(&htim2);

}

static void MX_TIM5_Init(void)
{

  TIM_ClockConfigTypeDef sClockSourceConfig = {0};
  TIM_MasterConfigTypeDef sMasterConfig = {0};
  TIM_OC_InitTypeDef sConfigOC = {0};

  htim5.Instance = TIM5;
  htim5.Init.Prescaler = 0;
  htim5.Init.CounterMode = TIM_COUNTERMODE_UP;
  htim5.Init.Period = 41999999;
  htim5.Init.ClockDivision = TIM_CLOCKDIVISION_DIV1;
  htim5.Init.AutoReloadPreload = TIM_AUTORELOAD_PRELOAD_DISABLE;
  if (HAL_TIM_Base_Init(&htim5) != HAL_OK)
  {
    Error_Handler();
  }
  sClockSourceConfig.ClockSource = TIM_CLOCKSOURCE_INTERNAL;
  if (HAL_TIM_ConfigClockSource(&htim5, &sClockSourceConfig) != HAL_OK)
  {
    Error_Handler();
  }
  if (HAL_TIM_PWM_Init(&htim5) != HAL_OK)
  {
    Error_Handler();
  }
  sMasterConfig.MasterOutputTrigger = TIM_TRGO_RESET;
  sMasterConfig.MasterSlaveMode = TIM_MASTERSLAVEMODE_DISABLE;
  if (HAL_TIMEx_MasterConfigSynchronization(&htim5, &sMasterConfig) != HAL_OK)
  {
    Error_Handler();
  }
  sConfigOC.OCMode = TIM_OCMODE_PWM1;
  sConfigOC.Pulse = 32;
  sConfigOC.OCPolarity = TIM_OCPOLARITY_HIGH;
  sConfigOC.OCFastMode = TIM_OCFAST_DISABLE;
  if (HAL_TIM_PWM_ConfigChannel(&htim5, &sConfigOC, TIM_CHANNEL_1) != HAL_OK)
  {
    Error_Handler();
  }
  HAL_TIM_MspPostInit(&htim5);

}

static void MX_TIM6_Init(void)
{

  TIM_MasterConfigTypeDef sMasterConfig = {0};

  htim6.Instance = TIM6;
  htim6.Init.Prescaler = 96;
  htim6.Init.CounterMode = TIM_COUNTERMODE_UP;
  htim6.Init.Period = 10000;
  htim6.Init.AutoReloadPreload = TIM_AUTORELOAD_PRELOAD_DISABLE;
  if (HAL_TIM_Base_Init(&htim6) != HAL_OK)
  {
    Error_Handler();
  }
  sMasterConfig.MasterOutputTrigger = TIM_TRGO_RESET;
  sMasterConfig.MasterSlaveMode = TIM_MASTERSLAVEMODE_DISABLE;
  if (HAL_TIMEx_MasterConfigSynchronization(&htim6, &sMasterConfig) != HAL_OK)
  {
    Error_Handler();
  }

}

static void MX_USART3_UART_Init(void)
{

  huart3.Instance = USART3;
  huart3.Init.BaudRate = 115200;
  huart3.Init.WordLength = UART_WORDLENGTH_8B;
  huart3.Init.StopBits = UART_STOPBITS_1;
  huart3.Init.Parity = UART_PARITY_NONE;
  huart3.Init.Mode = UART_MODE_TX_RX;
  huart3.Init.HwFlowCtl = UART_HWCONTROL_NONE;
  huart3.Init.OverSampling = UART_OVERSAMPLING_16;
  huart3.Init.OneBitSampling = UART_ONE_BIT_SAMPLE_DISABLE;
  huart3.AdvancedInit.AdvFeatureInit = UART_ADVFEATURE_NO_INIT;
  if (HAL_UART_Init(&huart3) != HAL_OK)
  {
    Error_Handler();
  }

}

static void MX_USB_OTG_FS_PCD_Init(void)
{

  hpcd_USB_OTG_FS.Instance = USB_OTG_FS;
  hpcd_USB_OTG_FS.Init.dev_endpoints = 6;
  hpcd_USB_OTG_FS.Init.speed = PCD_SPEED_FULL;
  hpcd_USB_OTG_FS.Init.dma_enable = DISABLE;
  hpcd_USB_OTG_FS.Init.phy_itface = PCD_PHY_EMBEDDED;
  hpcd_USB_OTG_FS.Init.Sof_enable = ENABLE;
  hpcd_USB_OTG_FS.Init.low_power_enable = DISABLE;
  hpcd_USB_OTG_FS.Init.lpm_enable = DISABLE;
  hpcd_USB_OTG_FS.Init.vbus_sensing_enable = ENABLE;
  hpcd_USB_OTG_FS.Init.use_dedicated_ep1 = DISABLE;
  if (HAL_PCD_Init(&hpcd_USB_OTG_FS) != HAL_OK)
  {
    Error_Handler();
  }

}

static void MX_DMA_Init(void)
{

  /* DMA controller clock enable */
  __HAL_RCC_DMA1_CLK_ENABLE();

  /* DMA interrupt init */
  /* DMA1_Stream0_IRQn interrupt configuration */
  HAL_NVIC_SetPriority(DMA1_Stream0_IRQn, 0, 0);
  HAL_NVIC_EnableIRQ(DMA1_Stream0_IRQn);
  /* DMA1_Stream1_IRQn interrupt configuration */
  HAL_NVIC_SetPriority(DMA1_Stream1_IRQn, 0, 0);
  HAL_NVIC_EnableIRQ(DMA1_Stream1_IRQn);
  /* DMA1_Stream3_IRQn interrupt configuration */
  HAL_NVIC_SetPriority(DMA1_Stream3_IRQn, 0, 0);
  HAL_NVIC_EnableIRQ(DMA1_Stream3_IRQn);
  /* DMA1_Stream6_IRQn interrupt configuration */
  HAL_NVIC_SetPriority(DMA1_Stream6_IRQn, 0, 0);
  HAL_NVIC_EnableIRQ(DMA1_Stream6_IRQn);

}

static void MX_GPIO_Init(void)
{
  GPIO_InitTypeDef GPIO_InitStruct = {0};

  /* GPIO Ports Clock Enable */
  __HAL_RCC_GPIOE_CLK_ENABLE();
  __HAL_RCC_GPIOC_CLK_ENABLE();
  __HAL_RCC_GPIOF_CLK_ENABLE();
  __HAL_RCC_GPIOH_CLK_ENABLE();
  __HAL_RCC_GPIOA_CLK_ENABLE();
  __HAL_RCC_GPIOB_CLK_ENABLE();
  __HAL_RCC_GPIOD_CLK_ENABLE();
  __HAL_RCC_GPIOG_CLK_ENABLE();

  /*Configure GPIO pin Output Level */
  HAL_GPIO_WritePin(GPIOF, MOT1_DIR_Pin|MOT1_SPREAD_Pin|MOT1_MS1_Pin|MOT1_MS2_Pin
                          |MOT2_DIR_Pin|MOT2_SPREAD_Pin|MOT2_MS1_Pin|MOT2_MS2_Pin
                          |MOT_ENN_Pin|OLED_RES_Pin|ENCODER1_CS_Pin|ENCODER2_CS_Pin, GPIO_PIN_RESET);

  /*Configure GPIO pin Output Level */
  HAL_GPIO_WritePin(TRG_RB_OUT_GPIO_Port, TRG_RB_OUT_Pin, GPIO_PIN_RESET);

  /*Configure GPIO pin Output Level */
  HAL_GPIO_WritePin(GPIOB, LD1_Pin|LD3_Pin|LD2_Pin, GPIO_PIN_RESET);

  /*Configure GPIO pins : BTN_FIX_AX_Pin BTN_TRACKED_AX_Pin BTN_MEM_SLOT_Pin BTN_OK_Pin
                           BNT_SET_Pin BTN_FREE_MOOVE_Pin BTN_EXTERNAL_EXTRA_Pin BTN_ONBRD_EXTRA1_Pin
                           BTN_ONBRD_EXTRA2_Pin BTN_ONBRD_EXTRA3_Pin BTN_ONBRD_EXTRA4_Pin MOT1_DIAG_Pin
                           MOT2_DIAG_Pin MOT_ENN_RB_Pin TRG_SIGNAL_Pin */
  GPIO_InitStruct.Pin = BTN_FIX_AX_Pin|BTN_TRACKED_AX_Pin|BTN_MEM_SLOT_Pin|BTN_OK_Pin
                          |BNT_SET_Pin|BTN_FREE_MOOVE_Pin|BTN_EXTERNAL_EXTRA_Pin|BTN_ONBRD_EXTRA1_Pin
                          |BTN_ONBRD_EXTRA2_Pin|BTN_ONBRD_EXTRA3_Pin|BTN_ONBRD_EXTRA4_Pin|MOT1_DIAG_Pin
                          |MOT2_DIAG_Pin|MOT_ENN_RB_Pin|TRG_SIGNAL_Pin;
  GPIO_InitStruct.Mode = GPIO_MODE_INPUT;
  GPIO_InitStruct.Pull = GPIO_NOPULL;
  HAL_GPIO_Init(GPIOE, &GPIO_InitStruct);

  /*Configure GPIO pin : USER_Btn_Pin */
  GPIO_InitStruct.Pin = USER_Btn_Pin;
  GPIO_InitStruct.Mode = GPIO_MODE_IT_RISING;
  GPIO_InitStruct.Pull = GPIO_NOPULL;
  HAL_GPIO_Init(USER_Btn_GPIO_Port, &GPIO_InitStruct);

  /*Configure GPIO pins : MOT1_DIR_Pin MOT1_SPREAD_Pin MOT1_MS1_Pin MOT1_MS2_Pin
                           MOT2_DIR_Pin MOT2_SPREAD_Pin MOT2_MS1_Pin MOT2_MS2_Pin
                           MOT_ENN_Pin OLED_RES_Pin */
  GPIO_InitStruct.Pin = MOT1_DIR_Pin|MOT1_SPREAD_Pin|MOT1_MS1_Pin|MOT1_MS2_Pin
                          |MOT2_DIR_Pin|MOT2_SPREAD_Pin|MOT2_MS1_Pin|MOT2_MS2_Pin
                          |MOT_ENN_Pin|OLED_RES_Pin;
  GPIO_InitStruct.Mode = GPIO_MODE_OUTPUT_PP;
  GPIO_InitStruct.Pull = GPIO_NOPULL;
  GPIO_InitStruct.Speed = GPIO_SPEED_FREQ_LOW;
  HAL_GPIO_Init(GPIOF, &GPIO_InitStruct);

  /*Configure GPIO pins : ENCODER1_CS_Pin ENCODER2_CS_Pin */
  GPIO_InitStruct.Pin = ENCODER1_CS_Pin|ENCODER2_CS_Pin;
  GPIO_InitStruct.Mode = GPIO_MODE_OUTPUT_PP;
  GPIO_InitStruct.Pull = GPIO_NOPULL;
  GPIO_InitStruct.Speed = GPIO_SPEED_FREQ_MEDIUM;
  HAL_GPIO_Init(GPIOF, &GPIO_InitStruct);

  /*Configure GPIO pin : TRG_RB_OUT_Pin */
  GPIO_InitStruct.Pin = TRG_RB_OUT_Pin;
  GPIO_InitStruct.Mode = GPIO_MODE_OUTPUT_PP;
  GPIO_InitStruct.Pull = GPIO_NOPULL;
  GPIO_InitStruct.Speed = GPIO_SPEED_FREQ_LOW;
  HAL_GPIO_Init(TRG_RB_OUT_GPIO_Port, &GPIO_InitStruct);

  /*Configure GPIO pins : LD1_Pin LD3_Pin LD2_Pin */
  GPIO_InitStruct.Pin = LD1_Pin|LD3_Pin|LD2_Pin;
  GPIO_InitStruct.Mode = GPIO_MODE_OUTPUT_PP;
  GPIO_InitStruct.Pull = GPIO_NOPULL;
  GPIO_InitStruct.Speed = GPIO_SPEED_FREQ_LOW;
  HAL_GPIO_Init(GPIOB, &GPIO_InitStruct);

  /*Configure GPIO pin : USB_OverCurrent_Pin */
  GPIO_InitStruct.Pin = USB_OverCurrent_Pin;
  GPIO_InitStruct.Mode = GPIO_MODE_INPUT;
  GPIO_InitStruct.Pull = GPIO_NOPULL;
  HAL_GPIO_Init(USB_OverCurrent_GPIO_Port, &GPIO_InitStruct);

}

void Error_Handler(void)
{
  __disable_irq();
  while (1)
  {
  }
}
